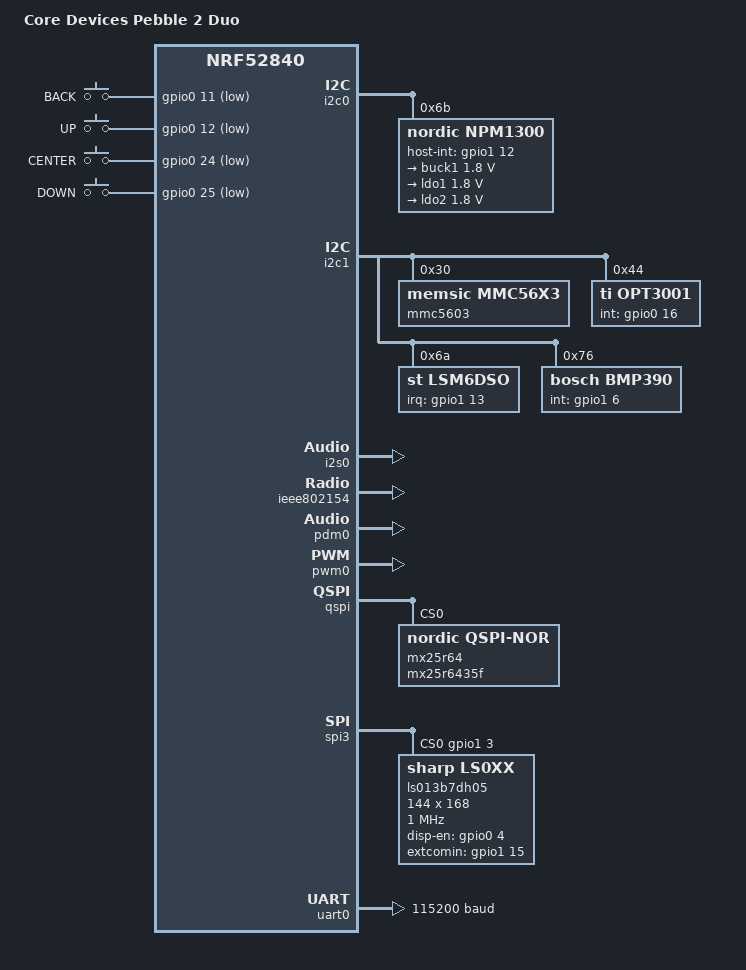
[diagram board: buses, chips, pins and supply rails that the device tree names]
/*
 * Copyright (c) 2025 Core Devices LLC
 * SPDX-License-Identifier: Apache-2.0
 */

/dts-v1/;

#include <nordic/nrf52840_qiaa.dtsi>
#include <nordic/nrf52840_partition.dtsi>
#include "p2ddk-pinctrl.dtsi"

#include <zephyr/dt-bindings/input/input-event-codes.h>
#include <zephyr/dt-bindings/regulator/npm13xx.h>
#include <zephyr/dt-bindings/sensor/lsm6dso.h>

/ {
	model = "Core Devices Pebble 2 Duo";
	compatible = "coredevices,p2ddk";

	chosen {
		zephyr,console = &uart0;
		zephyr,bt-mon-uart = &uart0;
		zephyr,bt-c2h-uart = &uart0;
		zephyr,display = &ls013b7dh05;
		zephyr,ieee802154 = &ieee802154;
		zephyr,shell-uart = &uart0;
		zephyr,uart-mcumgr = &uart0;
		zephyr,flash = &flash0;
		zephyr,sram = &sram0;
	};

	buttons: buttons {
		compatible = "gpio-keys";

		btn_back: button-back {
			gpios = <&gpio0 11 (GPIO_PULL_UP | GPIO_ACTIVE_LOW)>;
			label = "BACK";
			zephyr,code = <INPUT_KEY_BACK>;
		};

		btn_up: button-up {
			gpios = <&gpio0 12 (GPIO_PULL_UP | GPIO_ACTIVE_LOW)>;
			label = "UP";
			zephyr,code = <INPUT_KEY_UP>;
		};

		btn_center: button-center {
			gpios = <&gpio0 24 (GPIO_PULL_UP | GPIO_ACTIVE_LOW)>;
			label = "CENTER";
			zephyr,code = <INPUT_KEY_ENTER>;
		};

		btn_down: button-down {
			gpios = <&gpio0 25 (GPIO_PULL_UP | GPIO_ACTIVE_LOW)>;
			label = "DOWN";
			zephyr,code = <INPUT_KEY_DOWN>;
		};
	};

	aliases {
		accel0 = &lsm6dso;
		sw0 = &btn_back;
		sw1 = &btn_up;
		sw2 = &btn_center;
		sw3 = &btn_down;
		magn0 = &mmc5603;
		mcuboot-button0 = &btn_back;
		pressure-sensor = &bmp390;
		watchdog0 = &wdt0;
	};
};

&gpiote {
	status = "okay";
};

&gpio0 {
	status = "okay";
};

&gpio1 {
	status = "okay";
};

&i2c0 {
	compatible = "nordic,nrf-twim";
	status = "okay";
	pinctrl-0 = <&i2c0_default>;
	pinctrl-1 = <&i2c0_sleep>;
	pinctrl-names = "default", "sleep";

	npm1300: pmic@6b {
		compatible = "nordic,npm1300";
		reg = <0x6b>;
		pmic-int-pin = <1>;
		host-int-gpios = <&gpio1 12 GPIO_ACTIVE_HIGH>;

		regulators {
			compatible = "nordic,npm1300-regulator";

			buck1: BUCK1 {
				regulator-min-microvolt = <1800000>;
				regulator-max-microvolt = <1800000>;
				regulator-boot-on;
			};

			ldo1: LDO1 {
				regulator-min-microvolt = <1800000>;
				regulator-max-microvolt = <1800000>;
				regulator-allowed-modes = <NPM13XX_LDSW_MODE_LDO>;
				regulator-initial-mode = <NPM13XX_LDSW_MODE_LDO>;
				regulator-init-microvolt = <1800000>;
				regulator-boot-on;
			};

			ldo2: LDO2 {
				regulator-min-microvolt = <1800000>;
				regulator-max-microvolt = <1800000>;
				regulator-allowed-modes = <NPM13XX_LDSW_MODE_LDO>;
				regulator-initial-mode = <NPM13XX_LDSW_MODE_LDO>;
				regulator-init-microvolt = <1800000>;
				regulator-boot-on;
			};
		};

		charger: charger {
			compatible = "nordic,npm1300-charger";
			term-microvolt = <4150000>;
			term-warm-microvolt = <4000000>;
			current-microamp = <150000>;
			dischg-limit-microamp = <1000000>;
			vbus-limit-microamp = <500000>;
			thermistor-ohms = <10000>;
			thermistor-beta = <3380>;
			charging-enable;
		};
	};
};

&i2c1 {
	compatible = "nordic,nrf-twim";
	status = "okay";
	pinctrl-0 = <&i2c1_default>;
	pinctrl-1 = <&i2c1_sleep>;
	pinctrl-names = "default", "sleep";

	mmc5603: magnetic-sensor@30 {
		compatible = "memsic,mmc56x3";
		reg = <0x30>;
		magn-odr = <0>;
	};

	opt3001: light-sensor@44 {
		compatible = "ti,opt3001";
		reg = <0x44>;
		int-gpios = <&gpio0 16 GPIO_ACTIVE_HIGH>;
	};

	lsm6dso: imu-sensor@6a {
		compatible = "st,lsm6dso";
		reg = <0x6a>;
		irq-gpios = <&gpio1 13 GPIO_ACTIVE_HIGH>;
		accel-pm = <LSM6DSO_DT_XL_ULP_MODE>;
		gyro-pm = <LSM6DSO_DT_GY_NORMAL_MODE>;
	};

	bmp390: pressure-sensor@76 {
		compatible = "bosch,bmp390";
		reg = <0x76>;
		odr = "50";
		int-gpios = <&gpio1 6 GPIO_ACTIVE_HIGH>;
	};
};

&i2s0 {
	compatible = "nordic,nrf-i2s";
	status = "okay";
	pinctrl-0 = <&i2s0_default>;
	pinctrl-1 = <&i2s0_sleep>;
	pinctrl-names = "default", "sleep";
};

&ieee802154 {
	status = "okay";
};

&pdm0 {
	status = "okay";
	pinctrl-0 = <&pdm0_default>;
	pinctrl-names = "default";
	clock-source = "PCLK32M_HFXO";
};

&pwm0 {
	status = "okay";
	pinctrl-0 = <&pwm0_default>;
	pinctrl-1 = <&pwm0_sleep>;
	pinctrl-names = "default", "sleep";
};

&qspi {
	status = "okay";
	pinctrl-0 = <&qspi_default>;
	pinctrl-1 = <&qspi_sleep>;
	pinctrl-names = "default", "sleep";

	mx25r64: mx25r6435f@0 {
		compatible = "nordic,qspi-nor";
		reg = <0>;
		/* MX25R64 supports only pp and pp4io */
		writeoc = "pp4io";
		/* MX25R64 supports all readoc options */
		readoc = "read4io";
		sck-frequency = <8000000>;
		jedec-id = [c2 28 17];
		sfdp-bfp = [e5 20 f1 ff ff ff ff 03 44 eb 08 6b 08 3b 04 bb
			    ee ff ff ff ff ff 00 ff ff ff 00 ff 0c 20 0f 52
			    10 d8 00 ff 23 72 f5 00 82 ed 04 cc 44 83 68 44
			    30 b0 30 b0 f7 c4 d5 5c 00 be 29 ff f0 d0 ff ff];
		size = <67108864>;
		has-dpd;
		t-enter-dpd = <10000>;
		t-exit-dpd = <35000>;
	};
};

&reg1 {
	regulator-initial-mode = <NRF5X_REG_MODE_LDO>;
};

&spi3 {
	compatible = "nordic,nrf-spim";
	status = "okay";
	cs-gpios = <&gpio1 3 GPIO_ACTIVE_HIGH>;
	pinctrl-0 = <&spi3_default>;
	pinctrl-1 = <&spi3_sleep>;
	pinctrl-names = "default", "sleep";
	zephyr,pm-device-runtime-auto;

	ls013b7dh05: display@0 {
		compatible = "sharp,ls0xx";
		reg = <0x0>;
		disp-en-gpios = <&gpio0 4 GPIO_ACTIVE_HIGH>;
		extcomin-gpios = <&gpio1 15 GPIO_ACTIVE_HIGH>;
		extcomin-frequency = <60>;
		spi-max-frequency = <DT_FREQ_M(1)>;
		height = <168>;
		width = <144>;
	};
};

&uart0 {
	status = "okay";
	current-speed = <115200>;
	pinctrl-0 = <&uart0_default>;
	pinctrl-1 = <&uart0_sleep>;
	pinctrl-names = "default", "sleep";
};

&uicr {
	gpio-as-nreset;
};
